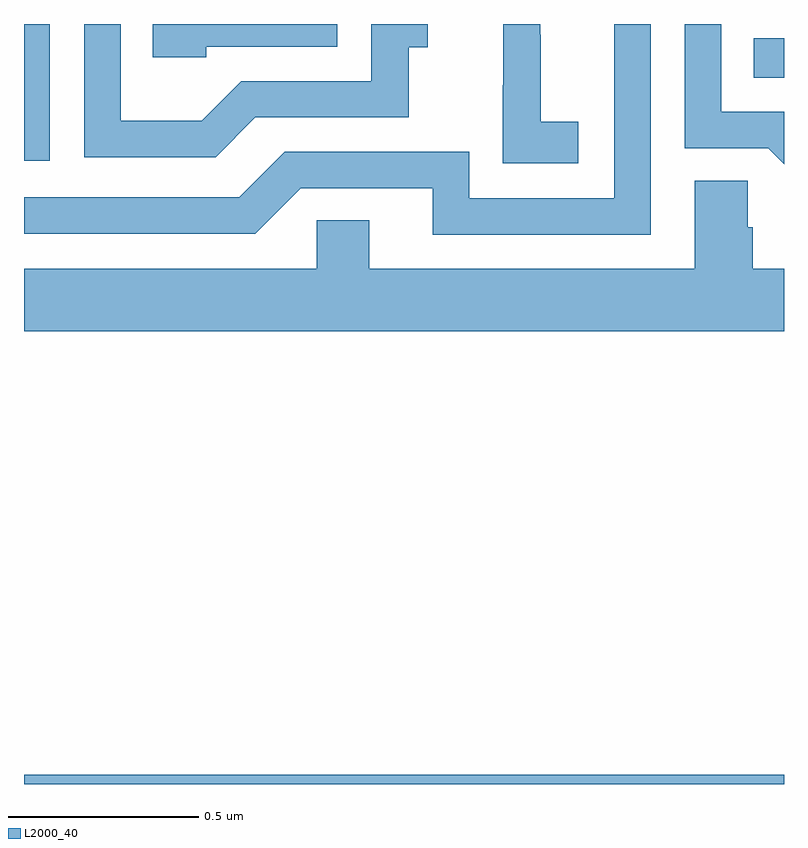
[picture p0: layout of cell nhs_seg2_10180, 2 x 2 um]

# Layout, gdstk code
import gdstk
lib = gdstk.Library(unit=1e-6, precision=1e-09)
def R(c, l, rs):  # rectangles x0, y0, x1, y1
    for r in rs: c.add(gdstk.rectangle(r[:2], r[2:], *l))
def P(c, l, *ps):  # polygons
    for p in ps: c.add(gdstk.Polygon(p, *l))
L2000_40 = (2000, 40)

nhs_seg2_10180 = lib.new_cell('nhs_seg2_10180')
R(nhs_seg2_10180, L2000_40, [(238,623.8,240,623.824), (238,625.44,238.068,625.8), (239.92,625.658,240,625.762)])
P(nhs_seg2_10180, L2000_40, [(239.649,625.8),(239.553,625.8),(239.553,625.341),(239.172,625.341),(239.172,625.464),(238.686,625.464),(238.566,625.344),(238,625.344),(238,625.248),(238.608,625.248),(238.728,625.368),(239.075,625.368),(239.075,625.245),(239.649,625.245)],
  [(238.479,625.74),(238.824,625.74),(238.824,625.8),(238.339,625.8),(238.339,625.713),(238.479,625.713)],
  [(239.458,625.543),(239.36,625.543),(239.36,625.772),(239.358,625.772),(239.358,625.8),(239.261,625.8),(239.261,625.639),(239.26,625.639),(239.26,625.433),(239.458,625.433)],
  [(238.609,625.554),(239.013,625.554),(239.013,625.739),(239.062,625.739),(239.062,625.8),(238.914,625.8),(238.914,625.65),(238.572,625.65),(238.468,625.546),(238.254,625.546),(238.254,625.8),(238.158,625.8),(238.158,625.449),(238.504,625.449)],
  [(240,625.569),(239.835,625.569),(239.835,625.8),(239.739,625.8),(239.739,625.473),(239.958,625.473),(240,625.431)],
  [(240,625.156),(239.918,625.156),(239.918,625.265),(239.904,625.265),(239.904,625.388),(239.765,625.388),(239.765,625.156),(238.909,625.156),(238.909,625.283),(238.77,625.283),(238.77,625.156),(238,625.156),(238,624.992),(240,624.992)])

lib.write_gds('nhs_seg2_10180.gds')
